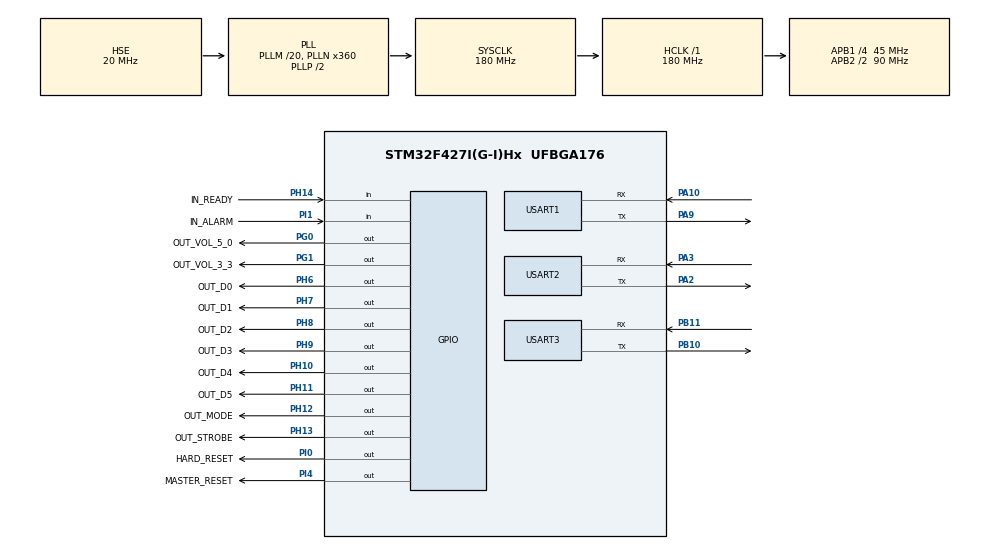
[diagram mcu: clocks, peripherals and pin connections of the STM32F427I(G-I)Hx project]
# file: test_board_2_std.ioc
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Mcu.Family=STM32F4
Mcu.Name=STM32F427I(G-I)Hx
Mcu.Package=UFBGA176
NVIC.PriorityGroup=NVIC_PRIORITYGROUP_4
NVIC.TIM2_IRQn=true\:0\:0\:false\:false\:true\:true\:true
NVIC.TIM3_IRQn=true\:0\:0\:false\:false\:true\:true\:true
NVIC.USART1_IRQn=true\:0\:0\:false\:false\:true\:true\:true
NVIC.USART2_IRQn=true\:0\:0\:false\:false\:true\:true\:true
NVIC.USART3_IRQn=true\:0\:0\:false\:false\:true\:true\:true
PA10.Mode=Asynchronous
PA10.Signal=USART1_RX
PA2.Mode=Asynchronous
PA2.Signal=USART2_TX
PA3.Mode=Asynchronous
PA3.Signal=USART2_RX
PA9.Mode=Asynchronous
PA9.Signal=USART1_TX
PB10.Mode=Asynchronous
PB10.Signal=USART3_TX
PB11.Mode=Asynchronous
PB11.Signal=USART3_RX
PG0.GPIO_Label=OUT_VOL_5_0
PG0.GPIO_PuPd=GPIO_PULLDOWN
PG0.Signal=GPIO_Output
PG1.GPIO_Label=OUT_VOL_3_3
PG1.GPIO_PuPd=GPIO_PULLDOWN
PG1.Signal=GPIO_Output
PH0/OSC_IN.Mode=HSE-External-Oscillator
PH0/OSC_IN.Signal=RCC_OSC_IN
PH1/OSC_OUT.Mode=HSE-External-Oscillator
PH1/OSC_OUT.Signal=RCC_OSC_OUT
PH10.GPIO_Label=OUT_D4
PH10.GPIO_PuPd=GPIO_PULLDOWN
PH10.Signal=GPIO_Output
PH11.GPIO_Label=OUT_D5
PH11.GPIO_PuPd=GPIO_PULLDOWN
PH11.Signal=GPIO_Output
PH12.GPIO_Label=OUT_MODE
PH12.GPIO_PuPd=GPIO_PULLUP
PH12.Signal=GPIO_Output
PH13.GPIO_Label=OUT_STROBE
PH13.GPIO_PuPd=GPIO_PULLUP
PH13.Signal=GPIO_Output
PH14.GPIO_Label=IN_READY
PH14.Signal=GPIO_Input
PH6.GPIO_Label=OUT_D0
PH6.GPIO_PuPd=GPIO_PULLDOWN
PH6.Signal=GPIO_Output
PH7.GPIO_Label=OUT_D1
PH7.GPIO_PuPd=GPIO_PULLDOWN
PH7.Signal=GPIO_Output
PH8.GPIO_Label=OUT_D2
PH8.GPIO_PuPd=GPIO_PULLDOWN
PH8.Signal=GPIO_Output
PH9.GPIO_Label=OUT_D3
PH9.GPIO_PuPd=GPIO_PULLDOWN
PH9.Signal=GPIO_Output
PI0.GPIO_Label=HARD_RESET
PI0.GPIO_PuPd=GPIO_PULLUP
PI0.Signal=GPIO_Output
PI1.GPIO_Label=IN_ALARM
PI1.Signal=GPIO_Input
PI4.GPIO_Label=MASTER_RESET
PI4.GPIO_PuPd=GPIO_PULLUP
PI4.Signal=GPIO_Output
ProjectManager.HeapSize=0x200
ProjectManager.StackSize=0x400
ProjectManager.TargetToolchain=MDK-ARM V5
RCC.48MHZClocksFreq_Value=90000000
RCC.AHBFreq_Value=180000000
RCC.APB1CLKDivider=RCC_HCLK_DIV4
RCC.APB1Freq_Value=45000000
RCC.APB1TimFreq_Value=90000000
RCC.APB2CLKDivider=RCC_HCLK_DIV2
RCC.APB2Freq_Value=90000000
RCC.APB2TimFreq_Value=180000000
RCC.CortexFreq_Value=180000000
RCC.HCLKFreq_Value=180000000
RCC.HSE_VALUE=20000000
RCC.HSI_VALUE=16000000
RCC.LSE_VALUE=32768
RCC.PLLM=20
RCC.PLLN=360
RCC.PLLSourceVirtual=RCC_PLLSOURCE_HSE
RCC.SYSCLKFreq_VALUE=180000000
RCC.SYSCLKSource=RCC_SYSCLKSOURCE_PLLCLK
RCC.VCOOutputFreq_Value=360000000
TIM2.AutoReloadPreload=TIM_AUTORELOAD_PRELOAD_ENABLE
TIM2.Period=1000
TIM2.Prescaler=44999
TIM3.AutoReloadPreload=TIM_AUTORELOAD_PRELOAD_ENABLE
TIM3.Period=1
TIM3.Prescaler=44999
USART1.VirtualMode=VM_ASYNC
USART2.VirtualMode=VM_ASYNC
USART3.VirtualMode=VM_ASYNC
VP_TIM2_VS_ClockSourceINT.Mode=Internal
VP_TIM3_VS_ClockSourceINT.Mode=Internal
board=custom

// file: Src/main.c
/* USER CODE BEGIN Header */
/**
  ******************************************************************************
  * @file           : main.c
  * @brief          : Main program body
  ******************************************************************************
  * @attention
  *
  * <h2><center>&copy; Copyright (c) 2020 STMicroelectronics.
  * All rights reserved.</center></h2>
  *
  * This software component is licensed by ST under BSD 3-Clause license,
  * the "License"; You may not use this file except in compliance with the
  * License. You may obtain a copy of the License at:
  *                        opensource.org/licenses/BSD-3-Clause
  *
  ******************************************************************************
  */
/* USER CODE END Header */

#include "main.h"
#include "tim.h"
#include "usart.h"
#include "gpio.h"

/* USER CODE BEGIN Includes */
#include <stdio.h>
#include <string.h>
#include "cmd.h"
#include "function.h"
#include "ring_buffer.h"

/* USER CODE END Includes */

/* USER CODE BEGIN PD */
#define VER "OSW1x64_testboard_1.0.5"
#define CMD_LENGTH 256
/* USER CODE END PD */

void SystemClock_Config(void);

/* USER CODE BEGIN 0 */
uint8_t usart1_tx_buf[256];
uint8_t usart2_tx_buf[TRANS_MAX_LENGTH];
uint32_t counter = 0;

extern usart_tr_stu *usart1_tr;
uint8_t uart1_data;
uint8_t uart1_irq_sel;
uint8_t print_trans_data;

/* USER CODE END 0 */

int main(void)
{
  /* USER CODE BEGIN 1 */
  uint8_t ch, r_flag = 0;
  uint8_t cmd[CMD_LENGTH];
  uint32_t cmd_len = 0;

  /* USER CODE END 1 */

  /* MCU Configuration--------------------------------------------------------*/

  /* Reset of all peripherals, Initializes the Flash interface and the Systick. */
  HAL_Init();

  /* Configure the system clock */
  SystemClock_Config();

  /* Initialize all configured peripherals */
  MX_GPIO_Init();
  MX_TIM2_Init();
  MX_TIM3_Init();
  MX_USART1_UART_Init();
  MX_USART2_UART_Init();
  MX_USART3_UART_Init();
  /* USER CODE BEGIN 2 */
  print_trans_data = 0;
  CLEAR_BIT(TERMINAL_UART.Instance->SR, USART_SR_RXNE);
  __HAL_UART_FLUSH_DRREGISTER(&TERMINAL_UART);
  rb_init(usart1_tr->rb, USART_RX_BUF_SIZE, usart1_tr->rx_buf);
  rb_init(usart1_tr->wb, USART_TX_BUF_SIZE, usart1_tr->tx_buf);
  uart1_irq_sel = 1;
  __HAL_UART_ENABLE_IT(&TERMINAL_UART, UART_IT_RXNE);

  HAL_GPIO_WritePin(OUT_MODE_GPIO_Port, OUT_MODE_Pin, GPIO_PIN_SET);
  HAL_GPIO_WritePin(OUT_STROBE_GPIO_Port, OUT_STROBE_Pin, GPIO_PIN_SET);
  HAL_GPIO_WritePin(HARD_RESET_GPIO_Port, HARD_RESET_Pin, GPIO_PIN_SET);
  HAL_GPIO_WritePin(MASTER_RESET_GPIO_Port, MASTER_RESET_Pin, GPIO_PIN_SET);

  PRINT("\r\nCOM is ready\r\n");
  PRINT("Firmware Version: " VER "\r\n");
  PRINT(">");
  /* USER CODE END 2 */

  /* Infinite loop */
  /* USER CODE BEGIN WHILE */
  while (1)
  {
    if (serial_available() > 0) {
      ch = serial_read();

      if (ch == '\r' || ch == '\n') {
        if (ch == '\r') {
          r_flag = 1;
        } else {
          if (r_flag) {
            r_flag = 0;
            continue;
          }
        }
        PRINT("\r\n");
        cmd[cmd_len] = 0;
        process_cmd((char*)cmd);
        PRINT(">");
        cmd_len = 0;
      } else if (ch == '\b') {
        if (cmd_len > 0) {
          HAL_UART_Transmit(&TERMINAL_UART, &ch, 1, 0xFFFFFFFF);
          PRINT(" ");
          HAL_UART_Transmit(&TERMINAL_UART, &ch, 1, 0xFFFFFFFF);
          --cmd_len;
        }
        r_flag = 0;
      } else {
        if (cmd_len < CMD_LENGTH - 1)
          cmd[cmd_len++] = ch;
        HAL_UART_Transmit(&TERMINAL_UART, &ch, 1, 0xFFFFFFFF);
        r_flag = 0;
      }
    }
    /* USER CODE END WHILE */

  }
}

void SystemClock_Config(void)
{
  RCC_OscInitTypeDef RCC_OscInitStruct = {0};
  RCC_ClkInitTypeDef RCC_ClkInitStruct = {0};

  /** Configure the main internal regulator output voltage
  */
  __HAL_RCC_PWR_CLK_ENABLE();
  __HAL_PWR_VOLTAGESCALING_CONFIG(PWR_REGULATOR_VOLTAGE_SCALE1);
  /** Initializes the CPU, AHB and APB busses clocks
  */
  RCC_OscInitStruct.OscillatorType = RCC_OSCILLATORTYPE_HSE;
  RCC_OscInitStruct.HSEState = RCC_HSE_ON;
  RCC_OscInitStruct.PLL.PLLState = RCC_PLL_ON;
  RCC_OscInitStruct.PLL.PLLSource = RCC_PLLSOURCE_HSE;
  RCC_OscInitStruct.PLL.PLLM = 20;
  RCC_OscInitStruct.PLL.PLLN = 360;
  RCC_OscInitStruct.PLL.PLLP = RCC_PLLP_DIV2;
  RCC_OscInitStruct.PLL.PLLQ = 4;
  if (HAL_RCC_OscConfig(&RCC_OscInitStruct) != HAL_OK)
  {
    Error_Handler();
  }
  /** Activate the Over-Drive mode
  */
  if (HAL_PWREx_EnableOverDrive() != HAL_OK)
  {
    Error_Handler();
  }
  /** Initializes the CPU, AHB and APB busses clocks
  */
  RCC_ClkInitStruct.ClockType = RCC_CLOCKTYPE_HCLK|RCC_CLOCKTYPE_SYSCLK
                              |RCC_CLOCKTYPE_PCLK1|RCC_CLOCKTYPE_PCLK2;
  RCC_ClkInitStruct.SYSCLKSource = RCC_SYSCLKSOURCE_PLLCLK;
  RCC_ClkInitStruct.AHBCLKDivider = RCC_SYSCLK_DIV1;
  RCC_ClkInitStruct.APB1CLKDivider = RCC_HCLK_DIV4;
  RCC_ClkInitStruct.APB2CLKDivider = RCC_HCLK_DIV2;

  if (HAL_RCC_ClockConfig(&RCC_ClkInitStruct, FLASH_LATENCY_5) != HAL_OK)
  {
    Error_Handler();
  }
}

/* USER CODE BEGIN 4 */
console_cmd cmdlist[] = {
  {"poweron", cmd_power, "Command about power", "poweron", "poweron"},
  {"poweroff", cmd_power, "Command about power", "poweroff", "poweroff"},
  {"upgrade", cmd_upgrade, "Command about upgrade", "upgrade init [block_size] | file | install", "upgrade init [512] | file | install"},
  {"version", cmd_version, "Get version", "version", "version"},
  {"reset", cmd_reset, "Reset the device", "reset <soft | hard | master>", "reset soft"},
  {"temp", cmd_temp, "Get device temperature", "temp", "temp"},
  {"status", cmd_device_status, "Get device status", "status", "status"},
  {"voltage", cmd_voltage, "Get device voltage", "voltage get | get thr", "voltage get | get thr"},
  {"date", cmd_time, "Set/Get module time", "date get | set y m d h m s", "date get | set 2020 7 29 15 55 50"},
  {"log", cmd_log, "Command about log", "log packets | get <packets> <number>", "log packets | get 123 2"},
  {"switch", cmd_switch, "Command about switch", "switch write <chan> | read", "switch write 31 | read"},
  {"il", cmd_IL, "Get Optical Switch Insertion Loss", "il", "il"},
  {"maintain", cmd_maintain, "Get maintain information", "maintain", "maintain"},
  {"debug", cmd_for_debug, "Command for debug", "debug", "debug"},
  {"help", cmd_help, "Help information", "help | <cmd> help", "help | upgrade help"},
};
const uint32_t cmd_count = sizeof(cmdlist) / sizeof(cmdlist[0]);

void HAL_UART_RxCpltCallback(UART_HandleTypeDef *huart)
{
  if (huart->Instance == TERMINAL_UART.Instance) {
    if (rb_is_full(usart1_tr->rb)) {
        rb_remove(usart1_tr->rb);
    }
    rb_insert(usart1_tr->rb, uart1_data);

    HAL_UART_Receive_IT(&TERMINAL_UART, &uart1_data, 1);
  }
}

void HAL_TIM_PeriodElapsedCallback(TIM_HandleTypeDef *htim)
{
  if (htim->Instance == TIM2) {
  }
}

/* USER CODE END 4 */

void Error_Handler(void)
{
}

/************************ (C) COPYRIGHT STMicroelectronics *****END OF FILE****/
